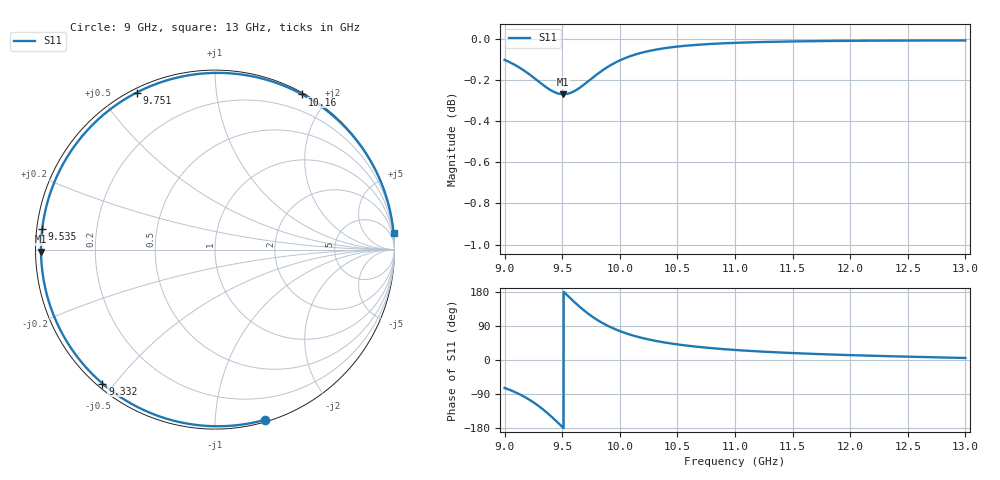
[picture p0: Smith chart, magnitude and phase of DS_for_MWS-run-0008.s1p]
! TOUCHSTONE file generated by CST DESIGN STUDIO
! Date and time: Tue Feb  4 12:28:43 2025
! Project name: C:\Work\MatlabApps\UnitCellOptimizationMatlab\CST\unitcell.cst
! Tree item: Tasks\Sweep1\SPara1\S-Parameters
! Header version: 2024
! Port assignment regex: !\s*Touchstone port\s*([0-9]+)\s*=\s*(CST MWS port|CST DES external port|CST DES block port)\s*(.+)\s* \(\"(.*)\"\)(\s*mode\s*([0-9]+))?.*
! Touchstone port assignment:
! Touchstone port 1 = CST DES external port 1 ("")
# GHz S MA R 50
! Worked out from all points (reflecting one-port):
!   4001 points, 9 GHz to 13 GHz, reference 50 ohm
!   lowest |S11| = -0.3 dB at 9.51 GHz (marker M1), VSWR 64.56, Z = 0.774 - j0.307 ohm
!   phase of S11 starts at -74 deg and turns -281 deg over the sweep
!   S11 on the Smith chart (normalised r, x): 9 GHz: 0.02, -1.33; 9.332 GHz: 0.02, -0.47; 9.535 GHz: 0.02, +0.06; 9.751 GHz: 0.02, +0.62; 10.16 GHz: 0.02, +1.71; 13 GHz: 0, +21
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9  0.9883 -73.7
9.09  0.9855 -84.7
9.193  0.9814 -100.8
9.266  0.9779 -115.0
9.332  0.9746 -130.0
9.378  0.9726 -141.7
9.425  0.9708 -154.6
9.463  0.9699 -165.5
9.5  0.9695 -176.3
9.51  0.9695 -179.3
9.535  0.9696 173.3
9.588  0.9706 157.9
9.648  0.9728 141.4
9.699  0.9752 128.5
9.751  0.9778 116.6
9.802  0.9803 106.2
9.859  0.9829 96.0
9.929  0.9857 85.3
10  0.988 76.3
10.162  0.9918 60.6
10.315  0.994 50.2
10.5  0.9957 41.1
10.722  0.9969 33.4
11  0.9978 26.5
11.5  0.9986 18.3
12  0.9989 12.9
12.5  0.9991 8.8
13  0.9991 5.3
